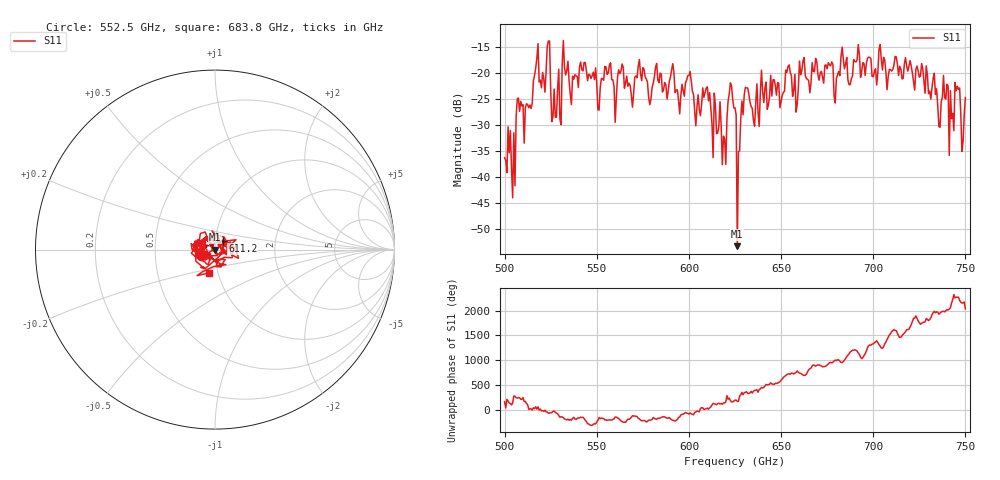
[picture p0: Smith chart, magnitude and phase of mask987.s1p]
!Created with skrf (http://scikit-rf.org).
# GHz S MA R 50.0
!freq magS11 angS11
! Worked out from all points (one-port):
!   401 points, 500 GHz to 750 GHz, reference 50 ohm
!   lowest |S11| = -53.3 dB at 626.2 GHz (marker M1), VSWR 1.00, Z = 49.8 + j0.0115 ohm
!   |S11| at or under -10 dB: start of sweep to end of sweep
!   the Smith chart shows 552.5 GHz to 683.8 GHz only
!   S11 on the Smith chart (normalised r, x): 552.5 GHz: 0.85, -0.06; 611.2 GHz: 1.08, +0.11; 683.8 GHz: 0.90, -0.24
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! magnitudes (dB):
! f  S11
! 500 GHz  -36.3
! 505 GHz  -31.6
! 507.5 GHz  -24.9
! 513.8 GHz  -26.2
! 516.9 GHz  -19.1
! 523.8 GHz  -13.9
! 526.9 GHz  -23.2
! 531.2 GHz  -18.3
! 552.5 GHz  -21.1
! 562.5 GHz  -20.2
! 593.8 GHz  -23.3
! 611.2 GHz  -23.9
! 618.8 GHz  -32.2
! 623.1 GHz  -22.5
! 625 GHz  -26.8
! 626.2 GHz  -53.3
! 631.2 GHz  -22.9
! 635 GHz  -29.2
! 656.2 GHz  -24.6
! 680 GHz  -21.1
! 683.8 GHz  -17.4
! 687.5 GHz  -22.3
! 718.8 GHz  -19.7
! 736.2 GHz  -30.5
! 739.4 GHz  -25.1
! 742.5 GHz  -28.8
! 745.6 GHz  -22.6
! 750 GHz  -24.8
